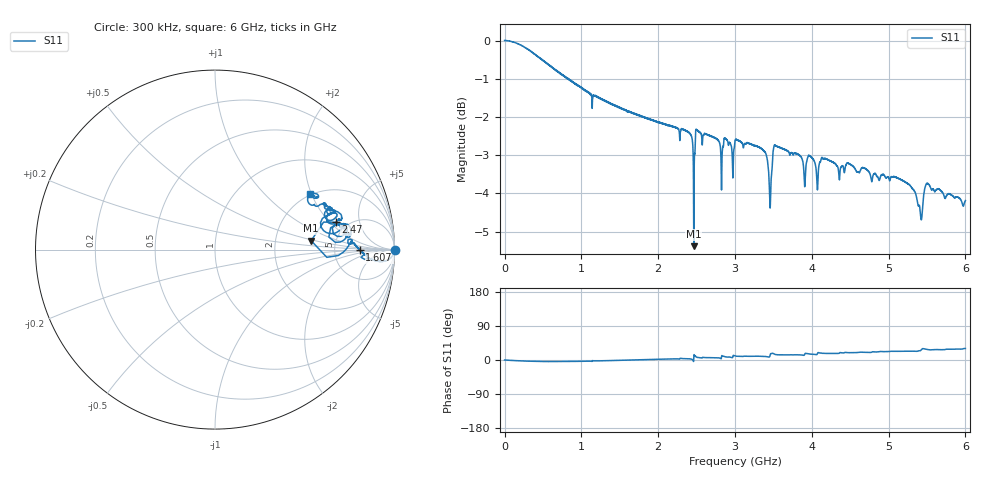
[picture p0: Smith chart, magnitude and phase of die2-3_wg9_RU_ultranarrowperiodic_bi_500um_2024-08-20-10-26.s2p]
!Keysight Technologies,P9374A,MY57304198,A.17.20.09
!Date: Tuesday, August 20, 2024 10:26:45
!Correction: S11(C  1-Port  )
!S21(C  1-Port  )
!S12(Off)
!S22(Off)
!S2P File: Measurements: S11, S21, S12, S22:
# Hz S  dB  R 50
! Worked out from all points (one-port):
!   6000 points, 300 kHz to 6 GHz, reference 50 ohm
!   lowest |S11| = -5.4 dB at 2.464 GHz (marker M1), VSWR 3.33, Z = 163 + j22.9 ohm
!   |S11| at or under -10 dB: nowhere
!   S11 on the Smith chart (normalised r, x): 300 kHz: open; 1.607 GHz: 9.34, -0.13; 2.47 GHz: 4.01, +2.32; 6 GHz: 1.96, +1.98
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300000  0.00 -0.0  -200.00 45.0  -200.00 45.0  -200.00 45.0
4.223492e8  -0.40 -3.7  -200.00 45.0  -200.00 45.0  -200.00 45.0
1.000417e9  -1.24 -3.4  -200.00 45.0  -200.00 45.0  -200.00 45.0
1.607488e9  -1.87 -0.2  -200.00 45.0  -200.00 45.0  -200.00 45.0
2.000533e9  -2.15 1.9  -200.00 45.0  -200.00 45.0  -200.00 45.0
2.432584e9  -2.50 2.3  -200.00 45.0  -200.00 45.0  -200.00 45.0
2.463587e9  -5.38 5.3  -200.00 45.0  -200.00 45.0  -200.00 45.0
2.469588e9  -3.24 12.8  -200.00 45.0  -200.00 45.0  -200.00 45.0
2.518594e9  -2.37 6.5  -200.00 45.0  -200.00 45.0  -200.00 45.0
2.793626e9  -2.64 5.5  -200.00 45.0  -200.00 45.0  -200.00 45.0
3.00065e9  -2.62 11.0  -200.00 45.0  -200.00 45.0  -200.00 45.0
3.371693e9  -2.89 9.7  -200.00 45.0  -200.00 45.0  -200.00 45.0
3.4277e9  -3.20 8.3  -200.00 45.0  -200.00 45.0  -200.00 45.0
3.462704e9  -4.11 16.2  -200.00 45.0  -200.00 45.0  -200.00 45.0
3.491707e9  -3.03 17.7  -200.00 45.0  -200.00 45.0  -200.00 45.0
3.538713e9  -2.76 14.1  -200.00 45.0  -200.00 45.0  -200.00 45.0
4.000767e9  -3.07 15.3  -200.00 45.0  -200.00 45.0  -200.00 45.0
5.000883e9  -3.58 22.3  -200.00 45.0  -200.00 45.0  -200.00 45.0
5.306919e9  -3.87 23.2  -200.00 45.0  -200.00 45.0  -200.00 45.0
5.430934e9  -4.65 28.1  -200.00 45.0  -200.00 45.0  -200.00 45.0
5.521944e9  -3.77 27.2  -200.00 45.0  -200.00 45.0  -200.00 45.0
6e9  -4.19 30.4  -200.00 45.0  -200.00 45.0  -200.00 45.0
